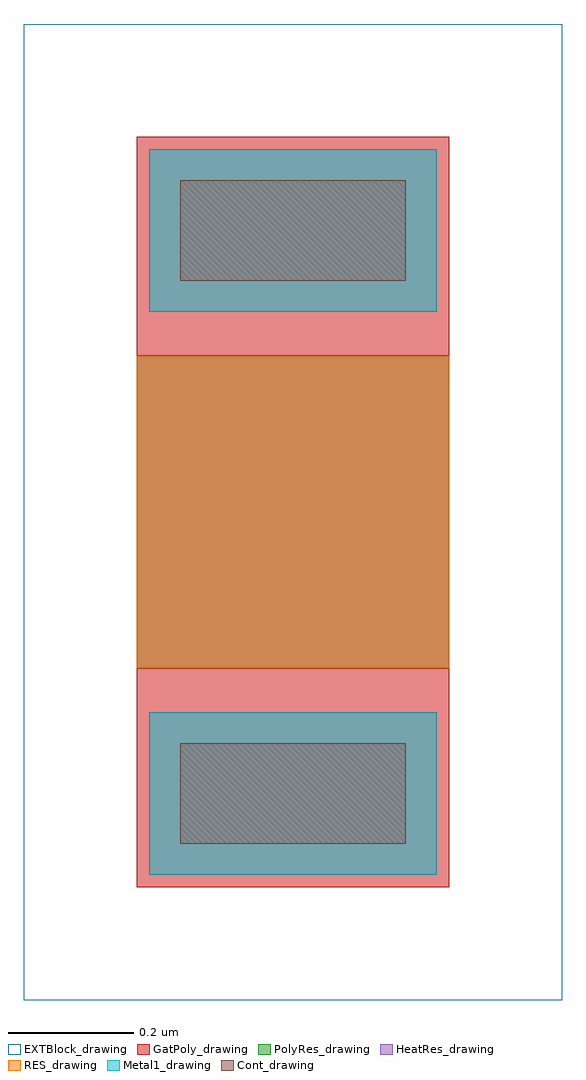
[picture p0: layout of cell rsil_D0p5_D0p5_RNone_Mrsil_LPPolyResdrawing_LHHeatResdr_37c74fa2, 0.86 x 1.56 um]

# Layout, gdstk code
import gdstk
lib = gdstk.Library(unit=1e-6, precision=1e-09)
def R(c, l, rs):  # rectangles x0, y0, x1, y1
    for r in rs: c.add(gdstk.rectangle(r[:2], r[2:], *l))
GatPoly_drawing = (5, 0)
Cont_drawing = (6, 0)
Metal1_drawing = (8, 0)
RES_drawing = (24, 0)
HeatRes_drawing = (52, 0)
EXTBlock_drawing = (111, 0)
PolyRes_drawing = (128, 0)

rectangle_gdsfactorypcom = lib.new_cell('rectangle_gdsfactorypcomponentspshapesprectangle_S0p5_0_ce1d4e87')
R(rectangle_gdsfactorypcom, PolyRes_drawing, [(0,0,0.5,0.5)])

c_rectangle_gdsfactorypcom = lib.new_cell('rectangle_gdsfactorypcomponentspshapesprectangle_S0p5_0_955d4748')
R(c_rectangle_gdsfactorypcom, HeatRes_drawing, [(0,0,0.5,0.5)])

c_rectangle_gdsfactorypcom_ = lib.new_cell('rectangle_gdsfactorypcomponentspshapesprectangle_S0p5_0_28ac2caa')
R(c_rectangle_gdsfactorypcom_, RES_drawing, [(0,0,0.5,0.5)])

c_rectangle_gdsfactorypcom__ = lib.new_cell('rectangle_gdsfactorypcomponentspshapesprectangle_S0p5_0_365be98d')
R(c_rectangle_gdsfactorypcom__, GatPoly_drawing, [(0,0,0.5,0.35)])

c_rectangle_gdsfactorypcom___ = lib.new_cell('rectangle_gdsfactorypcomponentspshapesprectangle_S0p46__c5e398a1')
R(c_rectangle_gdsfactorypcom___, Metal1_drawing, [(0,0,0.46,0.26)])

c_rectangle_gdsfactorypcom____ = lib.new_cell('rectangle_gdsfactorypcomponentspshapesprectangle_S0p36__cc771b56')
R(c_rectangle_gdsfactorypcom____, Cont_drawing, [(0,0,0.36,0.16)])

c_rectangle_gdsfactorypcom_____ = lib.new_cell('rectangle_gdsfactorypcomponentspshapesprectangle_S0p86__22b38a77')
R(c_rectangle_gdsfactorypcom_____, EXTBlock_drawing, [(0,0,0.86,1.56)])

rsil_d0p5_d0p5_rnone_mrs = lib.new_cell('rsil_D0p5_D0p5_RNone_Mrsil_LPPolyResdrawing_LHHeatResdr_37c74fa2')
rsil_d0p5_d0p5_rnone_mrs.add(gdstk.Reference(rectangle_gdsfactorypcom, (0,0)))
rsil_d0p5_d0p5_rnone_mrs.add(gdstk.Reference(c_rectangle_gdsfactorypcom, (0,0)))
rsil_d0p5_d0p5_rnone_mrs.add(gdstk.Reference(c_rectangle_gdsfactorypcom_, (0,0)))
rsil_d0p5_d0p5_rnone_mrs.add(gdstk.Reference(c_rectangle_gdsfactorypcom__, (0,0.5)))
rsil_d0p5_d0p5_rnone_mrs.add(gdstk.Reference(c_rectangle_gdsfactorypcom__, (0,-0.35)))
rsil_d0p5_d0p5_rnone_mrs.add(gdstk.Reference(c_rectangle_gdsfactorypcom___, (0.02,0.57)))
rsil_d0p5_d0p5_rnone_mrs.add(gdstk.Reference(c_rectangle_gdsfactorypcom___, (0.02,-0.33)))
rsil_d0p5_d0p5_rnone_mrs.add(gdstk.Reference(c_rectangle_gdsfactorypcom____, (0.07,0.62)))
rsil_d0p5_d0p5_rnone_mrs.add(gdstk.Reference(c_rectangle_gdsfactorypcom____, (0.07,-0.28)))
rsil_d0p5_d0p5_rnone_mrs.add(gdstk.Reference(c_rectangle_gdsfactorypcom_____, (-0.18,-0.53)))

lib.write_gds('rsil_D0p5_D0p5_RNone_Mrsil_LPPolyResdrawing_LHHeatResdr_37c74fa2.gds')
